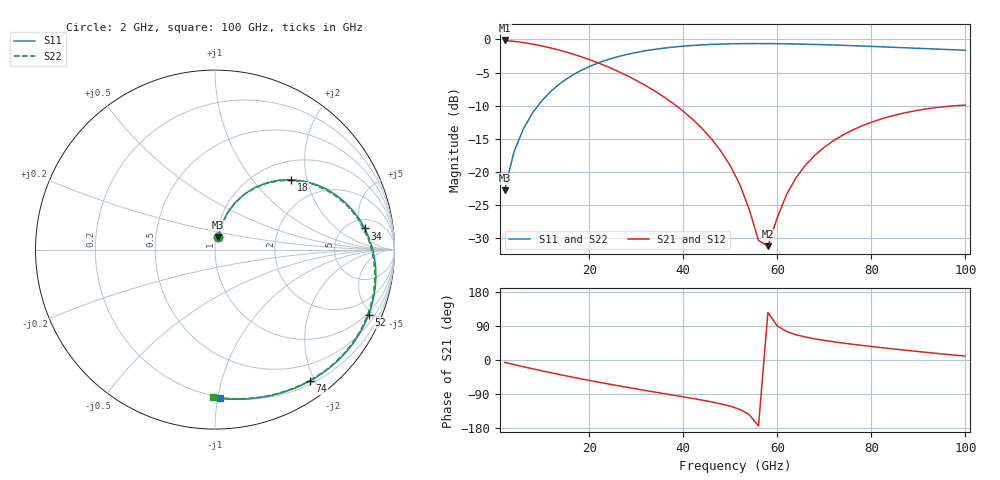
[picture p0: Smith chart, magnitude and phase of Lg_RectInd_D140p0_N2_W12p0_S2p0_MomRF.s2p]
! Created Mon Sep 21 18:47:28 2026
! List of port names and net name(s): example Port n = <port_name> <net_name1> <net_name2> ...
! Port 1 = P1 P1
! Port 2 = P2 P2
# hz S ma R 50
! Port[1]
! Port[2]
! 2 Port Network Data from data block
! freq  magS11  angS11  magS21  angS21  magS12  angS12  magS22  angS22
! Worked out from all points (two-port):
!   50 points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, 2 GHz to 100 GHz, reference 50 ohm
!   highest |S21| = -0.15 dB at 2 GHz (marker M1); lowest = -31.3 dB at 58 GHz (marker M2)
!   |S21| within 3 dB of the highest: start of sweep to 20.41 GHz
!   lowest |S11| = -22.8 dB at 2 GHz (marker M3), VSWR 1.16, Z = 51.3 + j7.23 ohm
!   |S11| at or under -10 dB: start of sweep to 9.124 GHz
!   |S22| runs from -22.8 to -0.7 dB; largest |S21 - S12| = 0
!   S11 on the Smith chart (normalised r, x): 2 GHz: 1.03, +0.14; 18 GHz: 1.38, +1.62; 34 GHz: 7.02, +5.72; 52 GHz: 0.89, -4.76; 74 GHz: 0.24, -1.93; 100 GHz: 0.19, -1.01
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2e9  0.07234 75.9  0.9832 -6.2  0.9832 -6.2  0.07235 75.8
4e9  0.1416 75.1  0.968 -12.1  0.968 -12.1  0.1415 75.0
6e9  0.2114 71.6  0.9472 -17.8  0.9472 -17.8  0.2111 71.4
8e9  0.2804 67.2  0.9218 -23.3  0.9218 -23.3  0.2799 66.9
1.2e10  0.4109 57.3  0.8598 -34.0  0.8598 -34.0  0.4098 57.0
1.8e10  0.5774 42.5  0.7463 -49.1  0.7463 -49.1  0.5755 42.1
2e10  0.6242 37.7  0.705 -53.9  0.705 -53.9  0.6221 37.4
2.8e10  0.7706 20.0  0.5333 -72.0  0.5333 -72.0  0.7677 19.6
3.4e10  0.843 8.0  0.4063 -84.8  0.4063 -84.8  0.8397 7.5
3.6e10  0.8612 4.2  0.3654 -88.9  0.3654 -88.9  0.8578 3.7
4.6e10  0.9174 -13.4  0.177 -110.6  0.177 -110.6  0.9135 -14.1
5e10  0.9271 -19.8  0.1109 -122.0  0.1109 -122.0  0.9229 -20.7
5.2e10  0.9298 -23.0  0.08031 -130.2  0.08031 -130.2  0.9255 -23.8
5.4e10  0.9313 -26.1  0.05231 -143.7  0.05231 -143.7  0.9269 -27.0
5.6e10  0.9317 -29.1  0.03018 -174.2  0.03018 -174.2  0.9272 -30.0
5.8e10  0.9311 -32.0  0.02736 125.3  0.02736 125.3  0.9265 -33.0
6.2e10  0.9274 -37.8  0.06755 75.0  0.06755 75.0  0.9226 -38.9
6.4e10  0.9245 -40.7  0.09025 66.6  0.09025 66.6  0.9196 -41.8
6.8e10  0.9171 -46.2  0.1333 55.8  0.1333 55.8  0.9119 -47.5
7.4e10  0.9028 -54.2  0.19 44.7  0.19 44.7  0.8973 -55.7
8.4e10  0.8748 -67.3  0.2621 30.1  0.2621 30.1  0.8684 -69.1
1e11  0.8296 -88.2  0.3189 10.2  0.3189 10.2  0.8213 -90.8
